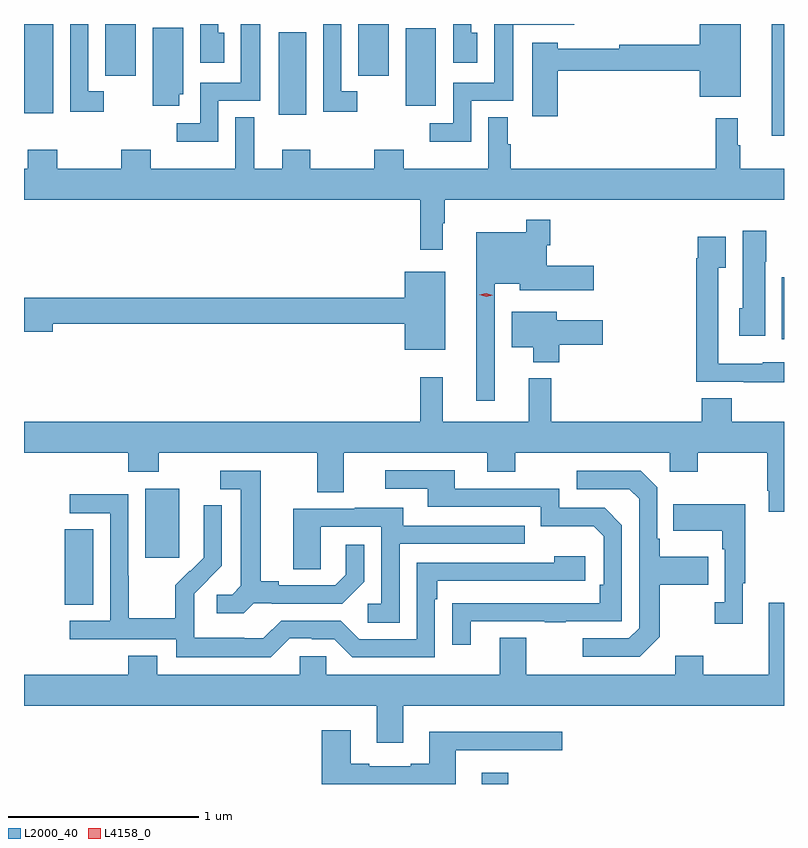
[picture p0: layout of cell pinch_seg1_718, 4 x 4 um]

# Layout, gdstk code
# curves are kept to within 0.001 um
import gdstk
lib = gdstk.Library(unit=1e-6, precision=1e-09)
def R(c, l, rs):  # rectangles x0, y0, x1, y1
    for r in rs: c.add(gdstk.rectangle(r[:2], r[2:], *l))
def P(c, l, *ps):  # polygons
    for p in ps: c.add(gdstk.Polygon(p, *l))
L2000_40 = (2000, 40)
L4158_0 = (4158, 0)

pinch_seg1_718 = lib.new_cell('pinch_seg1_718')
R(pinch_seg1_718, L2000_40, [(647.501,535.337,647.641,535.396), (645.308,536.281,645.457,536.678), (645.731,536.529,645.91,536.89), (649.082,537.678,649.093,538.005), (649.028,538.748,649.093,539.337), (646.433,538.859,646.579,539.293), (647.102,538.908,647.26,539.314), (645.521,539.064,645.682,539.337), (646.853,539.064,647.014,539.337)])
P(pinch_seg1_718, L2000_40, [(645.247,539.337),(645.093,539.337),(645.093,538.992),(645.094,538.992),(645.094,538.866),(645.247,538.866)],
  [(646.147,539.292),(646.116,539.292),(646.116,539.337),(646.02,539.337),(646.02,539.133),(646.147,539.133)],
  [(645.514,538.983),(645.432,538.983),(645.432,539.337),(645.336,539.337),(645.336,538.875),(645.514,538.875)],
  [(646.116,538.932),(646.336,538.932),(646.336,539.337),(646.235,539.337),(646.235,539.028),(646.02,539.028),(646.02,538.815),(645.897,538.815),(645.897,538.718),(646.116,538.718)],
  [(647.479,539.292),(647.448,539.292),(647.448,539.337),(647.352,539.337),(647.352,539.133),(647.479,539.133)],
  [(646.846,538.983),(646.764,538.983),(646.764,539.337),(646.668,539.337),(646.668,538.875),(646.846,538.875)],
  [(647.448,538.932),(647.668,538.932),(647.668,539.333),(647.989,539.333),(647.989,539.337),(647.567,539.337),(647.567,539.028),(647.352,539.028),(647.352,538.815),(647.229,538.815),(647.229,538.718),(647.448,538.718)],
  [(647.903,539.092),(648.65,539.092),(648.65,538.955),(648.865,538.955),(648.865,539.337),(648.65,539.337),(648.65,539.228),(648.226,539.228),(648.226,539.208),(647.903,539.208),(647.903,539.239),(647.768,539.239),(647.768,538.851),(647.903,538.851)],
  [(645.91,538.968),(645.931,538.968),(645.931,539.317),(645.77,539.317),(645.77,538.908),(645.91,538.908)],
  [(647.296,538.289),(647.308,538.289),(647.308,538.412),(649.093,538.412),(649.093,538.576),(648.862,538.576),(648.862,538.7),(648.85,538.7),(648.85,538.84),(648.733,538.84),(648.733,538.576),(647.656,538.576),(647.656,538.704),(647.638,538.704),(647.638,538.847),(647.537,538.847),(647.537,538.576),(647.091,538.576),(647.091,538.675),(646.936,538.675),(646.936,538.576),(646.599,538.576),(646.599,538.675),(646.451,538.675),(646.451,538.576),(646.306,538.576),(646.306,538.847),(646.205,538.847),(646.205,538.576),(645.759,538.576),(645.759,538.675),(645.604,538.675),(645.604,538.576),(645.267,538.576),(645.267,538.675),(645.112,538.675),(645.112,538.576),(645.093,538.576),(645.093,538.412),(647.179,538.412),(647.179,538.149),(647.296,538.149)],
  [(647.571,537.971),(647.702,537.971),(647.702,537.935),(648.091,537.935),(648.091,538.065),(647.845,538.065),(647.845,538.173),(647.864,538.173),(647.864,538.306),(647.736,538.306),(647.736,538.24),(647.474,538.24),(647.474,537.354),(647.571,537.354)],
  [(648.994,538.086),(649,538.086),(649,538.249),(648.875,538.249),(648.875,537.84),(648.857,537.84),(648.857,537.696),(648.994,537.696)],
  [(649.093,537.556),(648.981,537.556),(648.981,537.55),(648.747,537.55),(648.747,538.055),(648.787,538.055),(648.787,538.216),(648.639,538.216),(648.639,538.103),(648.631,538.103),(648.631,537.453),(648.881,537.453),(648.881,537.452),(649.093,537.452)],
  [(647.311,538.033),(647.096,538.033),(647.096,537.896),(645.093,537.896),(645.093,537.718),(645.244,537.718),(645.244,537.76),(647.096,537.76),(647.096,537.623),(647.311,537.623)],
  [(647.909,537.649),(648.139,537.649),(648.139,537.778),(647.896,537.778),(647.896,537.823),(647.66,537.823),(647.66,537.635),(647.774,537.635),(647.774,537.557),(647.909,537.557)],
  [(649.093,537.244),(648.819,537.244),(648.819,537.368),(648.659,537.368),(648.659,537.244),(647.867,537.244),(647.867,537.472),(647.75,537.472),(647.75,537.244),(647.297,537.244),(647.297,537.478),(647.179,537.478),(647.179,537.244),(645.093,537.244),(645.093,537.08),(645.641,537.08),(645.641,536.981),(645.801,536.981),(645.801,537.08),(646.637,537.08),(646.637,536.872),(646.777,536.872),(646.777,537.08),(647.531,537.08),(647.531,536.981),(647.679,536.981),(647.679,537.08),(648.492,537.08),(648.492,536.981),(648.639,536.981),(648.639,537.08),(649.006,537.08),(649.006,536.881),(649.013,536.881),(649.013,536.769),(649.093,536.769)],
  [(647.443,536.193),(647.833,536.193),(647.833,536.188),(647.945,536.188),(647.945,536.193),(648.24,536.193),(648.24,536.7),(648.15,536.79),(647.91,536.79),(647.91,536.892),(647.359,536.892),(647.359,536.988),(646.995,536.988),(646.995,536.892),(647.219,536.892),(647.219,536.796),(647.814,536.796),(647.814,536.693),(648.091,536.693),(648.144,536.64),(648.144,536.386),(648.124,536.386),(648.124,536.289),(647.347,536.288),(647.347,536.07),(647.443,536.07)],
  [(648.439,536.113),(648.439,536.386),(648.695,536.386),(648.695,536.533),(648.439,536.533),(648.439,536.629),(648.426,536.629),(648.426,536.898),(648.339,536.985),(648.003,536.985),(648.003,536.889),(648.279,536.889),(648.33,536.838),(648.33,536.157),(648.276,536.103),(648.033,536.103),(648.033,536.007),(648.333,536.007)],
  [(646.302,536.289),(646.396,536.289),(646.396,536.286),(646.768,536.286),(646.884,536.402),(646.884,536.596),(646.787,536.596),(646.787,536.439),(646.73,536.382),(646.435,536.382),(646.435,536.405),(646.339,536.405),(646.339,536.985),(646.125,536.985),(646.125,536.889),(646.235,536.889),(646.235,536.381),(646.188,536.334),(646.107,536.334),(646.107,536.237),(646.25,536.237)],
  [(646.491,536.103),(646.607,536.103),(646.607,536.1),(646.725,536.1),(646.821,536.004),(647.256,536.004),(647.256,536.309),(647.269,536.309),(647.269,536.406),(648.046,536.406),(648.046,536.536),(647.885,536.536),(647.885,536.502),(647.16,536.502),(647.16,536.1),(646.857,536.1),(646.761,536.196),(646.446,536.196),(646.353,536.103),(646.253,536.103),(646.253,536.107),(645.99,536.107),(645.99,536.241),(645.988,536.241),(645.988,536.338),(646.134,536.486),(646.134,536.804),(646.038,536.804),(646.038,536.65),(646.04,536.65),(646.04,536.528),(645.969,536.457),(645.966,536.46),(645.889,536.383),(645.889,536.209),(645.645,536.209),(645.645,536.432),(645.642,536.432),(645.642,536.862),(645.333,536.862),(645.333,536.763),(645.546,536.763),(645.546,536.196),(645.333,536.196),(645.333,536.1),(645.894,536.1),(645.894,536.003),(646.391,536.003)],
  [(648.877,536.393),(648.889,536.393),(648.889,536.809),(648.511,536.809),(648.511,536.669),(648.768,536.669),(648.768,536.573),(648.78,536.573),(648.78,536.294),(648.729,536.294),(648.729,536.181),(648.877,536.181)],
  [(647.07,536.601),(647.729,536.601),(647.729,536.697),(647.089,536.697),(647.089,536.791),(646.835,536.791),(646.835,536.787),(646.511,536.787),(646.511,536.467),(646.656,536.467),(646.656,536.691),(646.974,536.691),(646.974,536.286),(646.902,536.286),(646.902,536.185),(647.07,536.185)],
  [(649.093,536.29),(649.013,536.29),(649.013,535.912),(648.669,535.912),(648.669,536.011),(648.521,536.011),(648.521,535.912),(647.737,535.912),(647.737,536.107),(647.597,536.107),(647.597,535.912),(646.683,535.912),(646.683,536.01),(646.545,536.01),(646.545,535.912),(645.793,535.912),(645.793,536.011),(645.641,536.011),(645.641,535.912),(645.093,535.912),(645.093,535.748),(646.949,535.748),(646.949,535.554),(647.089,535.554),(647.089,535.748),(649.093,535.748)],
  [(647.365,535.515),(647.926,535.515),(647.926,535.612),(647.225,535.612),(647.225,535.444),(647.129,535.444),(647.129,535.431),(646.909,535.431),(646.909,535.444),(646.813,535.444),(646.813,535.621),(646.661,535.621),(646.661,535.337),(647.365,535.337)])
P(pinch_seg1_718, L4158_0, [(647.525,537.902),(647.49,537.913),(647.49,537.913),(647.49,537.913),(647.526,537.921),(647.56,537.91),(647.561,537.91),(647.56,537.91)])

lib.write_gds('pinch_seg1_718.gds')
